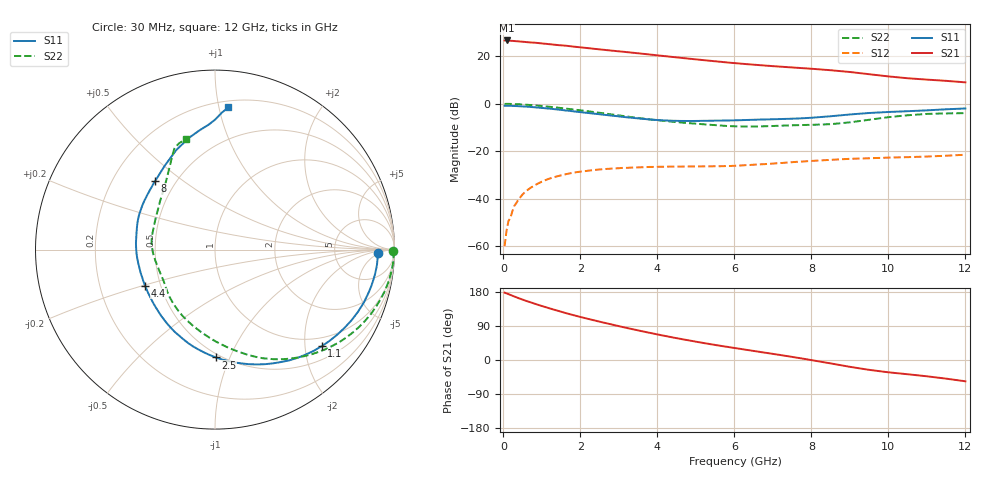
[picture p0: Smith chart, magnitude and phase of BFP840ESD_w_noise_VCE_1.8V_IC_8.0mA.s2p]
! Infineon Technologies  Discrete & RF Semiconductors
! BFP840ESD
! VCE =  1.8 V,  IC =  8.0 mA
! Common Emitter S-Parameters:  May 2012
# GHz  S  MA  R  50
!  f  S11  S21  S12  S22
! GHz  MAG  ANG  MAG  ANG  MAG  ANG  MAG  ANG
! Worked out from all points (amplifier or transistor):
!   93 points, 30 MHz to 12 GHz, reference 50 ohm
!   highest |S21| = 26.7 dB at 80 MHz (marker M1)
!   |S21| within 3 dB of that: start of sweep to 2.06 GHz
!   unconditionally stable (mu >= 1): 5.659 GHz to 9.762 GHz
!   at 1.1 GHz: K = 0.24, MSG = 28.7 dB, |S12| = -32.1 dB
!   at 4.2 GHz: K = 0.75, MSG = 23.3 dB, |S12| = -26.6 dB
!   at 12 GHz: K = 0.71, MSG = 15.2 dB, |S12| = -21.5 dB
!   lowest NFmin = 0.73 dB at 450 MHz
!   S11 on the Smith chart (normalised r, x): 30 MHz: 20, -4; 1.1 GHz: 0.79, -2.37; 2.5 GHz: 0.47, -0.89; 4.4 GHz: 0.41, -0.20; 8 GHz: 0.39, +0.40; 12 GHz: 0.25, +1.07
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0.03  0.9077 -1.1  21.5 177.7  0.001 95.0  0.9909 -0.5
0.08  0.9069 -3.2  21.55 175.8  0.0021 84.4  0.9953 -2.3
0.38  0.8899 -15.1  20.65 163.7  0.0093 79.1  0.9775 -12.4
0.6  0.8684 -23.6  19.9 155.6  0.0147 72.9  0.953 -19.3
0.8  0.8428 -31.2  19.4 148.9  0.0189 67.7  0.9265 -25.2
1.1  0.8023 -42.1  18.31 139.4  0.0248 61.0  0.8803 -33.8
1.3  0.7728 -49.2  17.63 133.2  0.0281 56.5  0.8467 -39.2
1.6  0.725 -59.9  16.77 124.3  0.0325 50.6  0.795 -47.1
2.1  0.6528 -76.5  15.14 111.0  0.0379 41.8  0.7107 -59.3
2.5  0.601 -89.5  13.97 101.1  0.0413 36.2  0.6452 -68.4
2.9  0.5534 -102.7  12.95 91.6  0.0435 31.1  0.5822 -77.3
3.3  0.5102 -116.1  12.02 82.5  0.0451 26.9  0.5269 -86.6
3.7  0.4747 -129.4  11.12 73.8  0.0463 23.3  0.4795 -96.3
4.1  0.4485 -143.1  10.26 65.4  0.0471 20.7  0.4408 -106.4
4.4  0.4381 -152.8  9.662 59.5  0.0474 18.9  0.4171 -113.8
5.2  0.437 -175.7  8.295 44.8  0.048 16.1  0.3695 -131.9
6.1  0.4494 165.9  7.074 30.2  0.0497 16.2  0.3336 -151.4
8  0.5072 131.1  5.462 -0.3  0.0625 11.6  0.3597 166.8
8.5  0.5455 120.8  5.085 -9.0  0.0658 9.0  0.3715 153.7
9.5  0.639 103.2  4.191 -26.0  0.0711 2.5  0.46 126.9
10.5  0.697 92.9  3.445 -37.6  0.075 -3.1  0.572 114.7
12  0.7959 84.6  2.824 -56.2  0.0844 -9.5  0.6354 104.8
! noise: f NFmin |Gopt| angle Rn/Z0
0.45  0.73  0.34  1  0.15
0.9  0.73  0.34  5  0.15
1.5  0.75  0.34  13  0.14
1.9  0.76  0.33  16  0.13
2.4  0.77  0.29  26  0.13
3.5  0.8  0.21  56  0.1
5.5  0.88  0.13  129  0.1
8  1.03  0.3  -134  0.09
10  1.19  0.47  -94  0.16
12  1.4  0.59  -73  0.27
